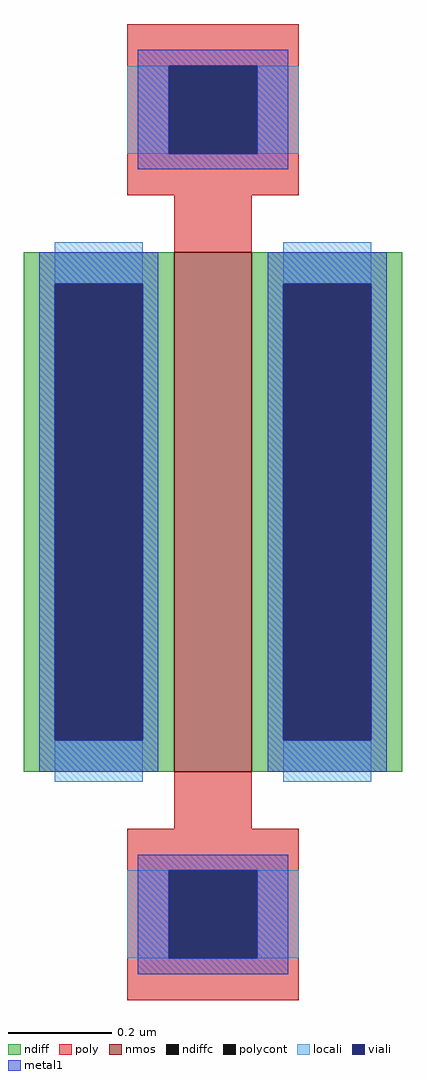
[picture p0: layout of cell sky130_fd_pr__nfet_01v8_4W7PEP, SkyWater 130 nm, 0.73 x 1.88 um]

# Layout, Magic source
magic
tech sky130A
magscale 1 2
<< nmos >>
rect -15 -100 15 100
<< ndiff >>
rect -73 88 -15 100
rect -73 -88 -61 88
rect -27 -88 -15 88
rect -73 -100 -15 -88
rect 15 88 73 100
rect 15 -88 27 88
rect 61 -88 73 88
rect 15 -100 73 -88
<< ndiffc >>
rect -61 -88 -27 88
rect 27 -88 61 88
<< poly >>
rect -33 172 33 188
rect -33 138 -17 172
rect 17 138 33 172
rect -33 122 33 138
rect -15 100 15 122
rect -15 -122 15 -100
rect -33 -138 33 -122
rect -33 -172 -17 -138
rect 17 -172 33 -138
rect -33 -188 33 -172
<< polycont >>
rect -17 138 17 172
rect -17 -172 17 -138
<< locali >>
rect -33 138 -17 172
rect 17 138 33 172
rect -61 88 -27 104
rect -61 -104 -27 -88
rect 27 88 61 104
rect 27 -104 61 -88
rect -33 -172 -17 -138
rect 17 -172 33 -138
<< viali >>
rect -17 138 17 172
rect -61 -88 -27 88
rect 27 -88 61 88
rect -17 -172 17 -138
<< metal1 >>
rect -29 172 29 178
rect -29 138 -17 172
rect 17 138 29 172
rect -29 132 29 138
rect -67 88 -21 100
rect -67 -88 -61 88
rect -27 -88 -21 88
rect -67 -100 -21 -88
rect 21 88 67 100
rect 21 -88 27 88
rect 61 -88 67 88
rect 21 -100 67 -88
rect -29 -138 29 -132
rect -29 -172 -17 -138
rect 17 -172 29 -138
rect -29 -178 29 -172
<< properties >>
string gencell sky130_fd_pr__nfet_01v8
string library sky130
string parameters w 1.0 l 0.15 m 1 nf 1 diffcov 100 polycov 100 guard 0 glc 1 grc 1 gtc 1 gbc 1 tbcov 100 rlcov 100 topc 1 botc 1 poverlap 0 doverlap 1 lmin 0.15 wmin 0.42 compatible {sky130_fd_pr__nfet_01v8 sky130_fd_pr__nfet_01v8_lvt  sky130_fd_bs_flash__special_sonosfet_star  sky130_fd_pr__nfet_g5v0d10v5 sky130_fd_pr__nfet_05v0_nvt  sky130_fd_pr__nfet_03v3_nvt} full_metal 1 viasrc 100 viadrn 100 viagate 100 viagb 0 viagr 0 viagl 0 viagt 0
<< end >>
